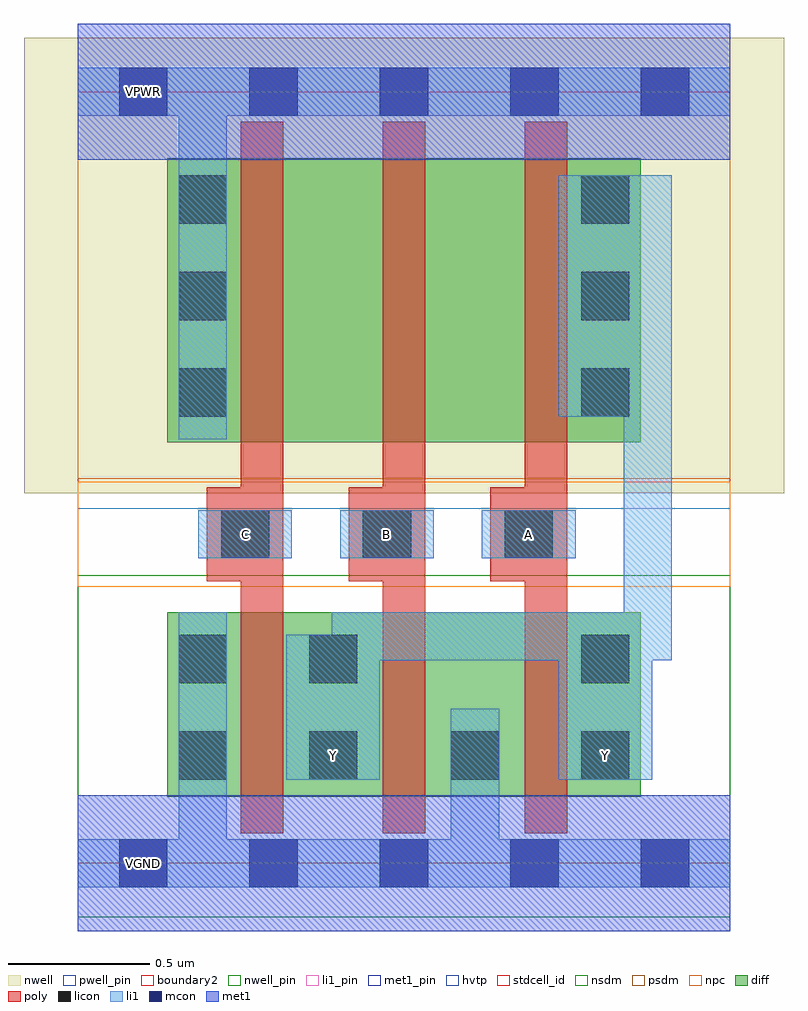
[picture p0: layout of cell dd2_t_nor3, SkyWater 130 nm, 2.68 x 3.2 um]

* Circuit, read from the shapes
.subckt dd2_t_nor3 A B C VGND VNB VPB VPWR Y
XM1 Y C VGND VNB sky130_fd_pr__nfet_01v8 w=0.65 l=0.15
XM2 VGND B Y VNB sky130_fd_pr__nfet_01v8 w=0.65 l=0.15
XM3 Y A VGND VNB sky130_fd_pr__nfet_01v8 w=0.65 l=0.15
XM4 n1 C VPWR VPB sky130_fd_pr__pfet_01v8_hvt w=1 l=0.15
XM5 n2 B n1 VPB sky130_fd_pr__pfet_01v8_hvt w=1 l=0.15
XM6 Y A n2 VPB sky130_fd_pr__pfet_01v8_hvt w=1 l=0.15
.ends

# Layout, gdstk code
import gdstk
lib = gdstk.Library(unit=1e-6, precision=1e-09)
def R(c, l, rs):  # rectangles x0, y0, x1, y1
    for r in rs: c.add(gdstk.rectangle(r[:2], r[2:], *l))
def A(c, l, x, y, w, h, nx, ny, dx, dy):  # array of equal rectangles
    R(c, l, [(x+i*dx, y+j*dy, x+i*dx+w, y+j*dy+h) for i in range(nx) for j in range(ny)])
nwell_pin = (64, 16)
nwell = (64, 20)
diff = (65, 20)
poly = (66, 20)
licon = (66, 44)
li1_pin = (67, 16)
li1 = (67, 20)
mcon = (67, 44)
met1_pin = (68, 16)
met1 = (68, 20)
hvtp = (78, 44)
stdcell_id = (81, 4)
nsdm = (93, 44)
psdm = (94, 20)
npc = (95, 20)
pwell_pin = (122, 16)
boundary2 = (236, 0)

dd2_t_nor3 = lib.new_cell('dd2_t_nor3')
R(dd2_t_nor3, nwell_pin, [(0.145,2.635,0.315,2.805)])
R(dd2_t_nor3, nwell, [(-0.19,1.305,2.49,2.91)])
R(dd2_t_nor3, diff, [(0.315,0.235,0.9,0.885), (0.9,0.235,1.4,0.885), (1.4,0.235,1.985,0.885), (0.315,1.485,0.9,2.485), (0.9,1.485,1.4,2.485), (1.4,1.485,1.985,2.485)])
A(dd2_t_nor3, poly, 0.575, 0.105, 0.15, 2.51, 3, 1, 0.5, 0)
A(dd2_t_nor3, poly, 0.455, 0.995, 0.27, 0.33, 3, 1, 0.5, 0)
A(dd2_t_nor3, licon, 0.505, 1.075, 0.17, 0.17, 3, 1, 0.5, 0)
A(dd2_t_nor3, licon, 0.355, 1.575, 0.17, 0.17, 1, 3, 0, 0.34)
A(dd2_t_nor3, licon, 1.775, 1.575, 0.17, 0.17, 1, 3, 0, 0.34)
R(dd2_t_nor3, licon, [(0.355,0.295,0.525,0.465), (0.815,0.295,0.985,0.465), (1.315,0.295,1.485,0.465), (1.775,0.295,1.945,0.465), (0.355,0.635,0.525,0.805), (0.815,0.635,0.985,0.805), (1.775,0.635,1.945,0.805)])
A(dd2_t_nor3, li1_pin, 0.505, 1.075, 0.17, 0.17, 3, 1, 0.5, 0)
R(dd2_t_nor3, li1_pin, [(0.815,0.295,0.985,0.465), (1.775,0.295,1.945,0.465)])
A(dd2_t_nor3, li1, 0.425, 1.075, 0.33, 0.17, 3, 1, 0.5, 0)
R(dd2_t_nor3, li1, [(0,-0.085,2.3,0.085), (0.355,-0.085,0.525,0.545), (1.315,-0.085,1.485,0.545), (0.355,0.295,0.525,0.885), (0.735,0.295,1.065,0.465), (0.735,0.295,1.065,0.805), (0.895,0.295,1.065,0.885), (1.695,0.295,2.025,0.465), (1.695,0.295,1.865,0.885), (1.695,0.295,2.025,0.805), (0.895,0.715,1.865,0.885), (1.695,0.715,2.095,0.885), (1.865,0.715,1.925,0.885), (1.865,0.715,1.925,0.885), (1.865,0.715,1.925,0.885), (1.865,0.715,1.925,0.885), (1.865,0.715,1.925,0.885), (1.865,0.715,1.925,0.885), (1.865,0.715,1.925,0.885), (1.865,0.715,1.925,0.885), (1.925,0.715,2.095,2.425), (0.355,1.495,0.525,2.085), (1.695,1.575,2.025,2.085), (0.355,1.835,0.525,2.425), (1.695,1.915,2.025,2.425), (0.355,2.085,0.525,2.175), (0.355,2.085,0.525,2.175), (0.355,2.085,0.525,2.175), (0.355,2.085,0.525,2.175), (0.355,2.175,0.525,2.805), (1.695,2.255,2.025,2.425), (1.855,2.255,2.095,2.425), (0,2.635,2.3,2.805)])
A(dd2_t_nor3, mcon, 0.145, -0.085, 0.17, 0.17, 5, 2, 0.46, 2.72)
R(dd2_t_nor3, met1_pin, [(0.145,-0.085,0.315,0.085), (0.145,2.635,0.315,2.805)])
R(dd2_t_nor3, met1, [(0,-0.24,2.3,0.24), (0,2.48,2.3,2.96)])
R(dd2_t_nor3, hvtp, [(0,1.25,2.3,2.72)])
R(dd2_t_nor3, stdcell_id, [(0,0,2.3,2.72)])
R(dd2_t_nor3, nsdm, [(0,-0.19,2.3,1.015)])
R(dd2_t_nor3, psdm, [(0,1.355,2.3,2.91)])
R(dd2_t_nor3, npc, [(0,0.975,2.3,1.345)])
R(dd2_t_nor3, pwell_pin, [(0.145,-0.085,0.315,0.085)])
R(dd2_t_nor3, boundary2, [(0,0,2.3,2.72)])
dd2_t_nor3.add(gdstk.Label('A', (1.59,1.16), layer=67, texttype=5))
dd2_t_nor3.add(gdstk.Label('B', (1.09,1.16), layer=67, texttype=5))
dd2_t_nor3.add(gdstk.Label('C', (0.59,1.16), layer=67, texttype=5))
dd2_t_nor3.add(gdstk.Label('Y', (0.9,0.38), layer=67, texttype=5))
dd2_t_nor3.add(gdstk.Label('Y', (1.86,0.38), layer=67, texttype=5))
dd2_t_nor3.add(gdstk.Label('VGND', (0.23,0), layer=68, texttype=5))
dd2_t_nor3.add(gdstk.Label('VPWR', (0.23,2.72), layer=68, texttype=5))
dd2_t_nor3.add(gdstk.Label('VPB', (0.23,2.72), layer=64, texttype=5))
dd2_t_nor3.add(gdstk.Label('VNB', (0.23,0), layer=64, texttype=59))

lib.write_gds('dd2_t_nor3.gds')
